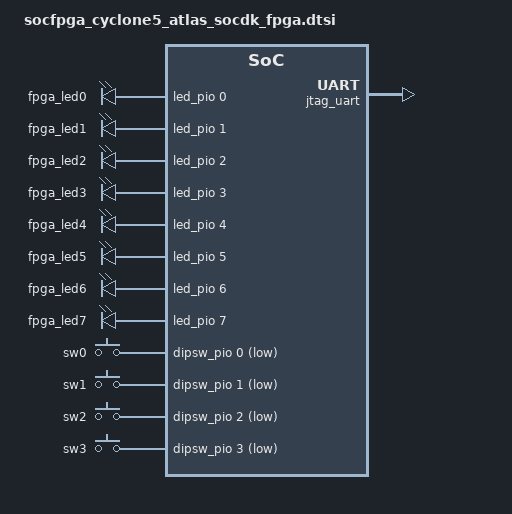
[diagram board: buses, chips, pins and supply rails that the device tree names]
/*
 * Copyright Altera Corporation (C) 2014. All rights reserved.
 *
 * This program is free software; you can redistribute it and/or modify
 * it under the terms and conditions of the GNU General Public License,
 * version 2, as published by the Free Software Foundation.
 *
 * This program is distributed in the hope it will be useful, but WITHOUT
 * ANY WARRANTY; without even the implied warranty of MERCHANTABILITY or
 * FITNESS FOR A PARTICULAR PURPOSE.  See the GNU General Public License for
 * more details.
 *
 * You should have received a copy of the GNU General Public License along with
 * this program.  If not, see <http://www.gnu.org/licenses/>.
 */

/ {
	soc {

		clocks {
			#clock-cells = <0>;
			
			clk_0: clk_0 {
				compatible = "fixed-clock";	
				clock-frequency = <50000000>;
			};
			
			fft_sub_clk_0: fft_sub_clk_0 {
				compatible = "fixed-clock";
				clock-frequency = <100000000>;
			}; 
						
		};

		hps_0_bridges: bridge@0xc0000000 {
			compatible = "altr,bridge-15.0", "simple-bus";
			reg = <0xc0000000 0x20000000>,
				<0xff200000 0x00200000>;
			reg-names = "axi_h2f", "axi_h2f_lw";
			clocks = <&clk_0 &clk_0 &clk_0>;
			clock-names = "h2f_axi_clock", "h2f_lw_axi_clock", "f2h_sdram0_clock";
			#address-cells = <2>;
			#size-cells = <1>;
			
			ranges = <0x00000000 0x00000000 0xc0000000 0x00010000>,
				<0x00000001 0x00002000 0xff202000 0x00000008>,
				<0x00000001 0x00001000 0xff201000 0x00000008>,
				<0x00000001 0x00003000 0xff203000 0x00000010>,
				<0x00000001 0x00004000 0xff204000 0x00000010>,
				<0x00000001 0x00005000 0xff205000 0x00000010>,
				<0x00000001 0x000a0000 0xff2a0000 0x00000020>,
				<0x00000001 0x00080000 0xff280000 0x00000020>,
				<0x00000001 0x000a8000 0xff2a8000 0x00000020>,
				<0x00000001 0x000b0000 0xff2b0000 0x00000010>,
				<0x00000001 0x00090000 0xff290000 0x00000010>,
				<0x00000001 0x000b8000 0xff2b8000 0x00000010>,
				<0x00000001 0x000d0000 0xff2d0000 0x00000010>,
				<0x00000001 0x000c0000 0xff2c0000 0x00010000>;
			
			jtag_uart: serial@0x100002000 {
				compatible = "altr,juart-15.0", "altr,juart-1.0";
				reg = <0x00000001 0x00002000 0x00000008>;
				interrupts = <0 40 4>;
				clocks = <&clk_0>;
			};
			
			led_pio: gpio@0x100003000 {
				compatible = "altr,pio-15.0", "altr,pio-1.0";
				reg = <0x00000001 0x00003000 0x00000010>;
				clocks = <&clk_0>;
				altr,gpio-bank-width = <8>;
				resetvalue = <0>;
				#gpio-cells = <2>;
				gpio-controller;
			}; //end gpio@0x100003000 (led_pio)
			
			sysid_qsys: sysid@0x100001000 {
				compatible = "altr,sysid-15.0", "altr,sysid-1.0";
				reg = <0x00000001 0x00001000 0x00000008>;
				clocks = <&clk_0>;
				id = <2899645442>;
				timestamp = <1431101685>;
			};
			
			dipsw_pio: gpio@0x100004000 {
				compatible = "altr,pio-15.0", "altr,pio-1.0";
				reg = <0x00000001 0x00004000 0x00000010>;
				interrupts = <0 41 1>;
				clocks = <&clk_0>;
				altr,gpio-bank-width = <4>;
				altr,interrupt_type = <3>;
				edge_type = <2>;
				level_trigger = <0>;
				resetvalue = <0>;
				#gpio-cells = <2>;
				gpio-controller;
			}; 
			
			button_pio: gpio@0x100005000 {
				compatible = "altr,pio-15.0", "altr,pio-1.0";
				reg = <0x00000001 0x00005000 0x00000010>;
				interrupts = <0 42 1>;
				clocks = <&clk_0>;
				altr,gpio-bank-width = <2>;
				altr,interrupt_type = <2>;
				edge_type = <1>;
				level_trigger = <0>;
				resetvalue = <0>;	
				#gpio-cells = <2>;
				gpio-controller;
			};
			
			fft_sub_sgdma_from_fft: msgdma@0x1000a0000 {
				compatible = "altr,msgdma-15.0", "altr,msgdma-1.0";
				reg = <0x00000001 0x000a0000 0x00000020>,
					<0x00000001 0x000b0000 0x00000010>;
				reg-names = "csr", "descriptor_slave";
				interrupts = <0 43 4>;
				clocks = <&fft_sub_clk_0>;
			}; 

			fft_sub_sgdma_to_fft: msgdma@0x100080000 {
				compatible = "altr,msgdma-15.0", "altr,msgdma-1.0";
				reg = <0x00000001 0x00080000 0x00000020>,
					<0x00000001 0x00090000 0x00000010>;
				reg-names = "csr", "descriptor_slave";
				interrupts = <0 44 4>;
				clocks = <&fft_sub_clk_0>;
			}; 

			fft_sub_sgdma_from_ram: msgdma@0x1000a8000 {
				compatible = "altr,msgdma-15.0", "altr,msgdma-1.0";
				reg = <0x00000001 0x000a8000 0x00000020>,
					<0x00000001 0x000b8000 0x00000010>;
				reg-names = "csr", "descriptor_slave";
				interrupts = <0 45 4>;
				clocks = <&fft_sub_clk_0>;
			}; 

			fft_sub_FFT_STadapter_0: fft_stadapter@0x1000d0000 {
				compatible = "altr,fft_stadapter-1.1", "altr,fft_stadapter";
				reg = <0x00000001 0x000d0000 0x00000010>;
				clocks = <&fft_sub_clk_0>;
			}; 
		};
		
		leds {
			compatible = "gpio-leds";

			led_fpga0: fpga0 {
				label = "fpga_led0";
				gpios = <&led_pio 0 0>;
			}; //end fpga0 (led_fpga0)

			led_fpga1: fpga1 {
				label = "fpga_led1";
				gpios = <&led_pio 1 0>;
			}; //end fpga1 (led_fpga1)

			led_fpga2: fpga2 {
				label = "fpga_led2";
				gpios = <&led_pio 2 0>;
			}; //end fpga2 (led_fpga2)

			led_fpga3: fpga3 {
				label = "fpga_led3";
				gpios = <&led_pio 3 0>;
			}; //end fpga3 (led_fpga3)

			led_fpga4: fpga4 {
				label = "fpga_led4";
				gpios = <&led_pio 4 0>;
			}; //end fpga4 (led_fpga4)

			led_fpga5: fpga5 {
				label = "fpga_led5";
				gpios = <&led_pio 5 0>;
			}; //end fpga5 (led_fpga5)

			led_fpga6: fpga6 {
				label = "fpga_led6";
				gpios = <&led_pio 6 0>;
			}; //end fpga6 (led_fpga6)

			led_fpga7: fpga7 {
				label = "fpga_led7";
				gpios = <&led_pio 7 0>;
			}; //end fpga7 (led_fpga7)


		};
		
		keys {
			compatible = "gpio-keys";

			sw0: sw0 {
				label = "sw0";
				gpios = <&dipsw_pio 0 1>;
				linux,code = <64>;
				debounce-interval = <50>;
			};

			sw1: sw1 {
				label = "sw1";
				gpios = <&dipsw_pio 1 1>;
				linux,code = <65>;
				debounce-interval = <50>;
			};

			sw2: sw2 {
				label = "sw2";
				gpios = <&dipsw_pio 2 1>;
				linux,code = <66>;
				debounce-interval = <50>;
			};

			sw3: sw3 {
				label = "sw3";
				gpios = <&dipsw_pio 3 1>;
				linux,code = <67>;
				debounce-interval = <50>;
			};
		};
	};
};
